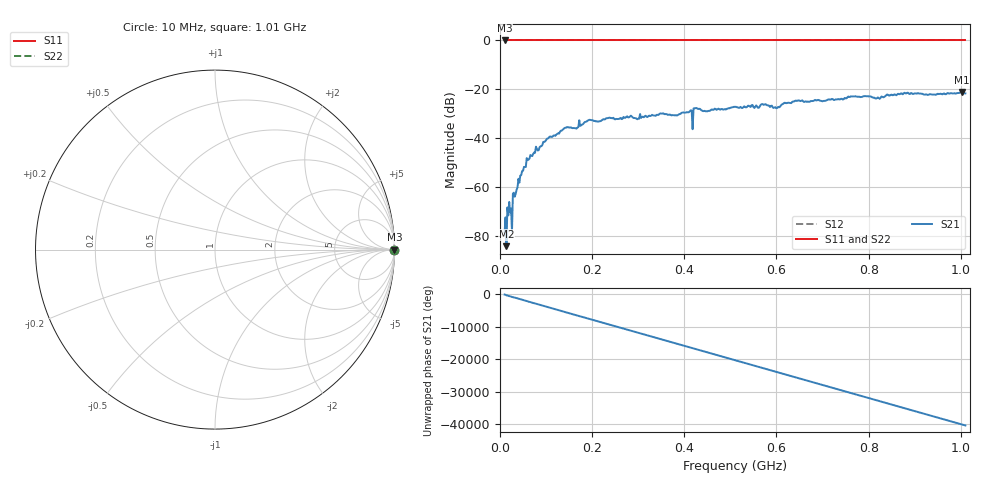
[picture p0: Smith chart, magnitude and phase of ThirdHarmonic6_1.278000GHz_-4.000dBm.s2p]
! 8/16/2025 1:52:39 PM
! C:\ANRITSUVNA\TEMP\TEMP.S2P
! CHANNEL.1
! TR.MEASUREMENT
! RAW.DATA
! RF.CORRECTION.OFF
! AVERAGING.OFF
! IF.BANDWIDTH: 5KHZ
! SWEEPTYPE:  FREQ.SWEEP(Linear)
! Reference Plane Port Info
! PORT:  PORT1  PORT2
! DISTANCE:  0  m  0  m
! TIME:  0  s  0  s
! PHASE.OFFSET:  0  deg.  0  deg.
! LOSS:  0  dB  0  dB
! REF.LOSS:  0  dB  0  dB
! REF.FREQ:  0  Hz  0  Hz
! Power Info
! POWER:  -20  dBm  -20  dBm
! EFF.POWER:  -20  dBm  -20  dBm
! SOURCE.ATTEN:  0  dB  0  dB
! TEST.ATTEN:  0  dB  0  dB
# GHZ S RI R 50.0
! FREQ.GHZ  S11RE  S11IM  S21RE  S21IM  S12RE  S12IM  S22RE  S22IM
!; PortSelection: Port_12
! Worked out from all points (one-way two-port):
!   501 points, 10 MHz to 1.01 GHz, reference 50 ohm
!   highest |S21| = -21.07 dB at 1.002 GHz (marker M1); lowest = -84.0 dB at 14 MHz (marker M2)
!   lowest |S11| = 0.0 dB at 10 MHz (marker M3)
!   |S11| at or under -10 dB: nowhere
!   |S22| runs from 0.0 to 0.0 dB; largest |S21 - S12| = 1.1
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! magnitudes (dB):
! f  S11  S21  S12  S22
! 10 MHz  0.0  -78.4  0.0  0.0
! 14 MHz  0.0  -84.0  0.0  0.0
! 20 MHz  0.0  -65.9  0.0  0.0
! 22 MHz  0.0  -70.2  0.0  0.0
! 30 MHz  0.0  -62.1  0.0  0.0
! 32 MHz  0.0  -63.8  0.0  0.0
! 44 MHz  0.0  -55.2  0.0  0.0
! 62 MHz  0.0  -48.6  0.0  0.0
! 106 MHz  0.0  -39.6  0.0  0.0
! 142 MHz  0.0  -35.6  0.0  0.0
! 178 MHz  0.0  -34.4  0.0  0.0
! 194 MHz  0.0  -32.4  0.0  0.0
! 344 MHz  0.0  -30.4  0.0  0.0
! 412 MHz  0.0  -28.9  0.0  0.0
! 414 MHz  0.0  -28.5  0.0  0.0
! 424 MHz  0.0  -27.7  0.0  0.0
! 510 MHz  0.0  -27.1  0.0  0.0
! 598 MHz  0.0  -27.2  0.0  0.0
! 678 MHz  0.0  -24.7  0.0  0.0
! 844 MHz  0.0  -22.5  0.0  0.0
! 1.002 GHz  0.0  -21.1  0.0  0.0
! 1.01 GHz  0.0  -21.6  0.0  0.0
